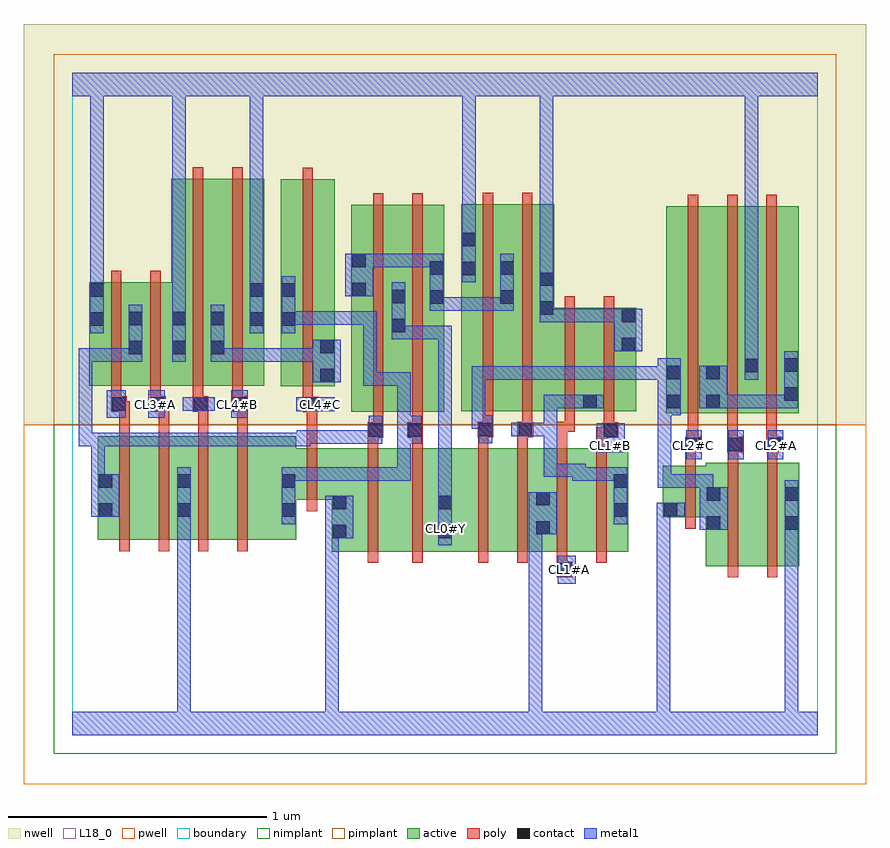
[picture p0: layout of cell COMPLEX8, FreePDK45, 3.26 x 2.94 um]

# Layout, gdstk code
import gdstk
lib = gdstk.Library(unit=1e-6, precision=1e-09)
def R(c, l, rs):  # rectangles x0, y0, x1, y1
    for r in rs: c.add(gdstk.rectangle(r[:2], r[2:], *l))
def A(c, l, x, y, w, h, nx, ny, dx, dy):  # array of equal rectangles
    R(c, l, [(x+i*dx, y+j*dy, x+i*dx+w, y+j*dy+h) for i in range(nx) for j in range(ny)])
active = (1, 0)
pwell = (2, 0)
nwell = (3, 0)
nimplant = (4, 0)
pimplant = (5, 0)
poly = (9, 0)
contact = (10, 0)
metal1 = (11, 0)
L18_0 = (18, 0)
boundary = (235, 0)

complex8 = lib.new_cell('COMPLEX8')
R(complex8, active, [(2.448,0.654,2.628,1.054), (2.628,0.654,2.808,1.054), (1.002,0.71,1.258,1.11), (1.002,0.71,1.062,1.028), (1.258,0.71,1.47,1.11), (1.41,0.71,1.664,1.11), (1.41,0.71,1.47,0.93), (1.664,0.71,1.848,1.11), (1.788,0.71,1.968,1.11), (1.788,0.71,1.848,0.944), (1.968,0.71,2.148,1.11), (0.098,0.756,0.278,1.156), (0.098,0.756,0.158,1.156), (0.278,0.756,0.462,1.156), (0.402,0.756,0.582,1.156), (0.402,0.756,0.462,1.012), (0.582,0.756,0.866,1.156), (0.806,0.756,0.866,1.11), (2.088,0.756,2.148,1.11), (2.748,0.756,2.808,1.054), (2.448,0.79,2.508,1.028), (2.282,0.842,2.508,1.042), (2.282,0.842,2.342,1.042), (0.806,0.91,1.062,1.11), (2.294,1.244,2.354,2.044), (2.294,1.244,2.506,2.044), (2.446,1.244,2.506,2.044), (2.446,1.244,2.654,2.044), (2.594,1.244,2.806,2.044), (2.746,1.244,2.806,2.044), (1.078,1.25,1.29,2.05), (1.23,1.25,1.438,2.05), (1.378,1.25,1.438,2.044), (1.502,1.252,1.71,2.052), (1.502,1.252,1.562,2.044), (1.65,1.252,1.862,2.052), (1.802,1.252,2.03,1.652), (1.97,1.252,2.178,1.652), (2.118,1.252,2.178,1.652), (1.97,1.26,2.03,1.644), (2.594,1.31,2.654,2.044), (1.23,1.316,1.29,2.044), (0.806,1.348,1.014,2.148), (0.806,1.348,0.866,2.044), (0.954,1.348,1.014,2.044), (0.066,1.35,0.126,1.75), (0.066,1.35,0.274,1.75), (0.214,1.35,0.442,1.75), (0.382,1.35,0.442,2.15), (0.382,1.35,0.592,2.15), (0.532,1.35,0.592,2.044), (0.532,1.35,0.742,2.15), (0.682,1.35,0.742,2.044), (1.65,1.354,1.71,2.044), (1.078,1.452,1.138,2.044), (1.802,1.464,1.862,2.052), (0.214,1.468,0.274,1.644)])
R(complex8, pwell, [(-0.188,-0.188,3.068,1.2)])
R(complex8, nwell, [(-0.188,1.2,3.068,2.748)])
R(complex8, nimplant, [(-0.072,-0.072,2.952,1.2)])
R(complex8, pimplant, [(-0.072,1.2,2.952,2.632)])
A(complex8, poly, 1.568, 0.666, 0.04, 0.488, 4, 1, 0.152, 0)
A(complex8, poly, 0.182, 0.712, 0.04, 0.488, 4, 1, 0.152, 0)
A(complex8, poly, 2.378, 1.114, 0.04, 0.126, 3, 1, 0.152, 0)
A(complex8, poly, 0.182, 1.16, 0.04, 0.13, 4, 1, 0.152, 0)
A(complex8, poly, 2.378, 1.2, 0.04, 0.888, 3, 1, 0.152, 0)
R(complex8, poly, [(1.872,0.61,1.932,0.67), (2.532,0.61,2.572,1.098), (2.684,0.61,2.724,1.098), (1.872,0.63,1.912,0.706), (1.142,0.666,1.182,1.154), (1.314,0.666,1.354,1.154), (2.368,0.798,2.408,1.086), (0.906,0.866,0.946,1.154), (2.368,1.046,2.408,1.134), (2.532,1.058,2.572,1.134), (2.684,1.058,2.724,1.134), (2.368,1.094,2.408,1.134), (2.368,1.094,2.408,1.134), (2.368,1.094,2.428,1.154), (2.53,1.094,2.59,1.154), (2.682,1.094,2.742,1.154), (2.684,1.094,2.724,1.134), (2.684,1.094,2.724,1.134), (0.906,1.114,0.946,1.288), (1.142,1.114,1.182,1.19), (1.314,1.114,1.354,1.19), (1.568,1.114,1.608,1.192), (1.72,1.114,1.76,1.192), (1.872,1.114,1.912,1.212), (2.024,1.114,2.064,1.19), (2.53,1.114,2.57,1.154), (2.53,1.114,2.57,1.154), (1.142,1.15,1.202,1.21), (1.294,1.15,1.354,1.21), (2.024,1.15,2.09,1.19), (2.05,1.15,2.09,1.19), (2.05,1.15,2.11,1.21), (1.566,1.152,1.626,1.212), (1.568,1.152,1.608,1.192), (1.568,1.152,1.608,1.192), (1.72,1.152,1.76,1.192), (1.72,1.152,1.76,1.192), (1.72,1.152,1.78,1.212), (1.162,1.17,1.202,1.21), (1.162,1.17,1.202,1.21), (1.162,1.17,1.202,1.246), (1.314,1.17,1.354,1.21), (1.314,1.17,1.354,1.21), (1.314,1.17,1.354,1.246), (2.054,1.17,2.094,1.248), (1.586,1.172,1.626,1.248), (1.738,1.172,1.778,1.248), (1.872,1.172,1.942,1.212), (1.902,1.172,1.942,1.212), (1.902,1.172,1.942,1.212), (1.902,1.172,1.942,1.248), (1.162,1.206,1.202,2.094), (1.314,1.206,1.354,2.094), (1.586,1.208,1.626,2.096), (1.738,1.208,1.778,2.096), (1.902,1.208,1.942,1.696), (2.054,1.208,2.094,1.696), (0.89,1.248,0.95,1.308), (0.906,1.248,0.946,1.288), (0.906,1.248,0.946,1.288), (0.15,1.25,0.21,1.31), (0.17,1.25,0.21,1.29), (0.17,1.25,0.222,1.29), (0.302,1.25,0.362,1.31), (0.322,1.25,0.362,1.29), (0.322,1.25,0.374,1.29), (0.466,1.25,0.526,1.31), (0.486,1.25,0.526,1.29), (0.486,1.25,0.526,1.29), (0.618,1.25,0.678,1.31), (0.638,1.25,0.678,1.29), (0.638,1.25,0.678,1.29), (0.89,1.268,0.93,1.344), (0.15,1.27,0.19,1.346), (0.302,1.27,0.342,1.346), (0.466,1.27,0.506,1.346), (0.618,1.27,0.658,1.346), (0.89,1.304,0.93,2.192), (0.15,1.306,0.19,1.794), (0.302,1.306,0.342,1.794), (0.466,1.306,0.506,2.194), (0.618,1.306,0.658,2.194)])
R(complex8, contact, [(1.876,0.614,1.928,0.666), (1.006,0.762,1.058,0.814), (1.414,0.762,1.466,0.814), (1.792,0.776,1.844,0.828), (2.452,0.794,2.504,0.846), (2.752,0.794,2.804,0.846), (0.102,0.844,0.154,0.896), (0.406,0.844,0.458,0.896), (0.81,0.844,0.862,0.896), (2.092,0.844,2.144,0.896), (2.286,0.846,2.338,0.898), (1.006,0.874,1.058,0.926), (1.414,0.874,1.466,0.926), (1.792,0.888,1.844,0.94), (2.452,0.906,2.504,0.958), (2.752,0.906,2.804,0.958), (0.102,0.956,0.154,1.008), (0.406,0.956,0.458,1.008), (0.81,0.956,0.862,1.008), (2.092,0.956,2.144,1.008), (2.372,1.098,2.424,1.15), (2.534,1.098,2.586,1.15), (2.686,1.098,2.738,1.15), (1.146,1.154,1.198,1.206), (1.298,1.154,1.35,1.206), (2.054,1.154,2.106,1.206), (1.57,1.156,1.622,1.208), (1.724,1.156,1.776,1.208), (0.894,1.252,0.946,1.304), (0.154,1.254,0.206,1.306), (0.306,1.254,0.358,1.306), (0.47,1.254,0.522,1.306), (0.622,1.254,0.674,1.306), (1.974,1.264,2.026,1.316), (2.298,1.264,2.35,1.316), (2.45,1.264,2.502,1.316), (2.75,1.292,2.802,1.344), (0.958,1.364,1.01,1.416), (2.298,1.376,2.35,1.428), (2.45,1.376,2.502,1.428), (2.598,1.402,2.65,1.454), (2.75,1.404,2.802,1.456), (0.218,1.472,0.27,1.524), (0.386,1.472,0.438,1.524), (0.536,1.472,0.588,1.524), (0.958,1.476,1.01,1.528), (2.122,1.484,2.174,1.536), (1.234,1.558,1.286,1.61), (0.07,1.582,0.122,1.634), (0.686,1.582,0.738,1.634), (0.81,1.582,0.862,1.634), (0.218,1.584,0.27,1.636), (0.386,1.584,0.438,1.636), (0.536,1.584,0.588,1.636), (2.122,1.596,2.174,1.648), (1.806,1.624,1.858,1.676), (1.382,1.668,1.434,1.72), (1.654,1.668,1.706,1.72), (1.234,1.67,1.286,1.722), (0.07,1.694,0.122,1.746), (0.686,1.694,0.738,1.746), (0.81,1.694,0.862,1.746), (1.082,1.696,1.134,1.748), (1.806,1.736,1.858,1.788), (1.506,1.778,1.558,1.83), (1.382,1.78,1.434,1.832), (1.654,1.78,1.706,1.832), (1.082,1.808,1.134,1.86), (1.506,1.89,1.558,1.942)])
R(complex8, metal1, [(0,0,2.88,0.092), (0.406,0.04,0.458,0.092), (0.406,0.04,0.458,0.092), (0.406,0.04,0.458,0.092), (0.406,0.04,0.458,0.092), (0.406,0.04,0.458,0.868), (0.978,0.04,1.03,0.092), (0.978,0.04,1.03,0.092), (0.978,0.04,1.03,0.814), (1.764,0.04,1.816,0.092), (1.764,0.04,1.816,0.092), (1.764,0.04,1.816,0.092), (1.764,0.04,1.816,0.092), (1.764,0.04,1.816,0.218), (2.258,0.04,2.31,0.092), (2.258,0.04,2.31,0.092), (2.258,0.04,2.31,0.092), (2.258,0.04,2.31,0.092), (2.258,0.04,2.31,0.092), (2.258,0.04,2.31,0.092), (2.258,0.04,2.31,0.092), (2.258,0.04,2.31,0.092), (2.258,0.04,2.31,0.822), (2.752,0.04,2.804,0.092), (2.752,0.04,2.804,0.092), (2.752,0.04,2.804,0.092), (2.752,0.04,2.804,0.092), (2.752,0.04,2.804,0.092), (2.752,0.04,2.804,0.092), (2.752,0.04,2.804,0.092), (2.752,0.04,2.804,0.092), (2.752,0.04,2.804,0.818), (1.764,0.166,1.816,0.218), (1.764,0.166,1.816,0.218), (1.764,0.166,1.816,0.218), (1.764,0.166,1.816,0.828), (1.876,0.586,1.946,0.694), (1.414,0.734,1.466,0.954), (0.978,0.762,1.03,0.814), (0.978,0.762,1.03,0.814), (0.978,0.762,1.03,0.814), (0.978,0.762,1.03,0.814), (0.978,0.762,1.03,0.814), (0.978,0.762,1.03,0.814), (0.978,0.762,1.03,0.814), (0.978,0.762,1.03,0.814), (0.978,0.762,1.03,0.814), (0.978,0.762,1.03,0.814), (0.978,0.762,1.086,0.926), (2.752,0.766,2.804,0.986), (2.752,0.766,2.804,0.818), (2.752,0.766,2.804,0.818), (2.752,0.766,2.804,0.818), (2.752,0.766,2.804,0.818), (2.258,0.77,2.31,0.822), (2.258,0.77,2.31,0.898), (1.764,0.776,1.816,0.828), (1.764,0.776,1.816,0.828), (1.764,0.776,1.816,0.828), (1.764,0.776,1.816,0.828), (1.764,0.776,1.872,0.94), (2.424,0.794,2.532,0.958), (0.406,0.816,0.458,1.036), (0.406,0.816,0.458,0.868), (0.406,0.816,0.458,0.868), (0.406,0.816,0.458,0.868), (0.406,0.816,0.458,0.868), (0.406,0.816,0.458,0.868), (0.406,0.816,0.458,0.868), (0.406,0.816,0.458,0.868), (0.406,0.816,0.458,0.868), (0.81,0.816,0.862,1.036), (2.092,0.816,2.144,1.036), (0.074,0.844,0.182,1.008), (2.258,0.846,2.31,0.898), (2.258,0.846,2.31,0.898), (2.258,0.846,2.31,0.898), (2.258,0.846,2.31,0.898), (2.258,0.846,2.31,0.898), (2.258,0.846,2.31,0.898), (2.258,0.846,2.366,0.898), (1.414,0.902,1.466,0.954), (1.414,0.902,1.466,0.954), (1.414,0.902,1.466,0.954), (1.414,0.902,1.466,0.954), (1.414,0.902,1.466,0.954), (1.414,0.902,1.466,0.954), (1.414,0.902,1.466,1.582), (2.424,0.906,2.476,1.008), (0.074,0.956,0.126,1.168), (2.262,0.956,2.424,1.008), (2.262,0.956,2.314,1.008), (2.262,0.956,2.314,1.008), (2.262,0.956,2.314,1.008), (2.262,0.956,2.314,1.288), (2.372,0.956,2.424,1.008), (2.372,0.956,2.476,1.008), (2.424,0.956,2.476,1.008), (0.81,0.984,0.972,1.036), (0.81,0.984,0.862,1.036), (0.81,0.984,0.862,1.036), (0.92,0.984,0.972,1.036), (0.92,0.984,1.15,1.036), (1.098,0.984,1.15,1.036), (1.098,0.984,1.15,1.036), (1.098,0.984,1.15,1.036), (1.098,0.984,1.308,1.036), (1.256,0.984,1.308,1.036), (1.256,0.984,1.308,1.234), (1.932,0.984,2.144,1.036), (1.932,0.984,1.984,1.05), (2.092,0.984,2.144,1.036), (2.092,0.984,2.144,1.036), (1.822,0.998,1.874,1.05), (1.822,0.998,1.914,1.05), (1.822,0.998,1.874,1.208), (1.862,0.998,1.914,1.05), (1.862,0.998,1.984,1.05), (2.372,1.066,2.432,1.178), (2.534,1.066,2.594,1.178), (2.686,1.066,2.746,1.178), (2.026,1.094,2.134,1.206), (0.026,1.116,0.078,1.496), (0.026,1.116,0.126,1.168), (0.074,1.116,0.126,1.168), (0.074,1.116,0.126,1.168), (0.074,1.116,0.238,1.168), (0.186,1.116,0.348,1.168), (0.186,1.116,0.238,1.168), (0.186,1.116,0.238,1.168), (0.186,1.116,0.238,1.168), (0.296,1.116,0.348,1.168), (0.296,1.116,0.348,1.168), (0.296,1.116,0.348,1.168), (0.296,1.116,0.628,1.168), (0.576,1.116,0.738,1.168), (0.576,1.116,0.628,1.168), (0.576,1.116,0.628,1.168), (0.576,1.116,0.628,1.168), (0.686,1.116,0.738,1.168), (0.686,1.116,0.738,1.168), (0.686,1.116,0.738,1.168), (0.686,1.116,0.92,1.168), (0.868,1.116,0.92,1.178), (0.868,1.126,1.04,1.178), (0.988,1.126,1.04,1.178), (0.988,1.126,1.04,1.178), (0.988,1.126,1.04,1.178), (0.988,1.126,1.198,1.178), (1.146,1.126,1.198,1.234), (1.298,1.126,1.35,1.234), (1.57,1.128,1.622,1.236), (1.696,1.156,1.804,1.208), (1.752,1.156,1.874,1.208), (1.822,1.156,1.874,1.208), (1.822,1.156,1.874,1.208), (1.822,1.156,1.874,1.208), (1.822,1.156,1.874,1.316), (1.256,1.182,1.308,1.402), (1.256,1.182,1.308,1.234), (1.256,1.182,1.35,1.234), (1.544,1.184,1.596,1.236), (1.544,1.184,1.622,1.236), (1.544,1.184,1.596,1.426), (0.134,1.226,0.206,1.334), (0.294,1.226,0.358,1.334), (0.614,1.226,0.678,1.334), (2.262,1.236,2.314,1.288), (2.262,1.236,2.314,1.288), (2.262,1.236,2.35,1.456), (0.866,1.252,1.014,1.306), (0.426,1.254,0.55,1.306), (1.822,1.264,1.874,1.316), (1.822,1.264,1.924,1.316), (1.872,1.264,1.924,1.316), (1.872,1.264,1.998,1.316), (1.946,1.264,2.054,1.316), (2.422,1.264,2.53,1.428), (2.478,1.264,2.534,1.316), (2.482,1.264,2.534,1.316), (2.482,1.264,2.692,1.316), (2.64,1.264,2.802,1.316), (2.64,1.264,2.692,1.316), (2.64,1.264,2.692,1.316), (2.64,1.264,2.692,1.316), (2.75,1.264,2.802,1.484), (1.124,1.35,1.176,1.402), (1.124,1.35,1.176,1.402), (1.124,1.35,1.176,1.402), (1.124,1.35,1.176,1.402), (1.124,1.35,1.176,1.402), (1.124,1.35,1.308,1.402), (1.124,1.35,1.176,1.638), (1.256,1.35,1.308,1.402), (0.93,1.364,1.038,1.528), (1.544,1.374,1.706,1.426), (1.544,1.374,1.596,1.426), (1.544,1.374,1.596,1.426), (1.544,1.374,1.596,1.426), (1.654,1.374,1.816,1.426), (1.654,1.374,1.706,1.426), (1.654,1.374,1.706,1.426), (1.654,1.374,1.706,1.426), (1.654,1.374,1.706,1.426), (1.654,1.374,1.706,1.426), (1.764,1.374,1.816,1.426), (1.764,1.374,1.914,1.426), (1.862,1.374,1.914,1.426), (1.862,1.374,2.034,1.426), (1.982,1.374,2.034,1.426), (1.982,1.374,2.034,1.426), (1.982,1.374,2.034,1.426), (1.982,1.374,2.314,1.426), (2.262,1.374,2.314,1.426), (2.262,1.374,2.314,1.426), (2.598,1.374,2.65,1.482), (2.598,1.43,2.65,1.482), (2.598,1.43,2.65,1.482), (2.598,1.43,2.65,1.482), (2.598,1.43,2.65,1.482), (2.598,1.43,2.65,1.482), (2.598,1.43,2.65,1.482), (2.598,1.43,2.65,2.52), (0.026,1.444,0.078,1.496), (0.026,1.444,0.078,1.496), (0.026,1.444,0.078,1.496), (0.026,1.444,0.078,1.496), (0.026,1.444,0.078,1.496), (0.026,1.444,0.27,1.496), (0.218,1.444,0.27,1.664), (0.386,1.444,0.438,1.664), (0.536,1.444,0.588,1.664), (0.536,1.444,0.588,1.496), (0.536,1.444,0.588,1.496), (0.536,1.444,0.738,1.496), (0.686,1.444,0.738,1.496), (0.686,1.444,0.738,1.496), (0.686,1.444,0.738,1.496), (0.686,1.444,0.92,1.496), (0.868,1.444,0.92,1.496), (0.868,1.444,0.982,1.496), (2.094,1.484,2.202,1.648), (1.234,1.53,1.286,1.75), (1.234,1.53,1.448,1.582), (1.396,1.53,1.448,1.582), (1.396,1.53,1.466,1.582), (1.414,1.53,1.466,1.582), (0.07,1.554,0.122,1.774), (0.686,1.554,0.738,1.774), (0.81,1.554,0.862,1.774), (0.81,1.586,0.92,1.638), (0.868,1.586,0.92,1.638), (0.868,1.586,0.972,1.638), (0.92,1.586,0.972,1.638), (0.92,1.586,1.176,1.638), (1.124,1.586,1.176,1.638), (1.806,1.596,1.858,1.816), (1.806,1.596,1.924,1.648), (1.872,1.596,1.924,1.648), (1.872,1.596,1.998,1.648), (1.946,1.596,1.998,1.648), (1.946,1.596,1.998,1.648), (1.946,1.596,1.998,1.648), (1.946,1.596,1.998,1.648), (1.946,1.596,1.998,1.648), (1.946,1.596,2.146,1.648), (2.094,1.596,2.146,1.648), (2.094,1.596,2.146,1.648), (2.094,1.596,2.146,1.648), (2.094,1.596,2.146,1.648), (2.094,1.596,2.146,1.648), (2.094,1.596,2.146,1.648), (0.386,1.612,0.438,1.664), (0.386,1.612,0.438,1.664), (0.386,1.612,0.438,2.52), (1.382,1.64,1.434,1.86), (1.382,1.64,1.576,1.692), (1.524,1.64,1.576,1.692), (1.524,1.64,1.576,1.692), (1.524,1.64,1.576,1.692), (1.524,1.64,1.706,1.692), (1.654,1.64,1.706,1.86), (1.054,1.696,1.162,1.86), (0.07,1.722,0.122,1.774), (0.07,1.722,0.122,1.774), (0.07,1.722,0.122,1.774), (0.07,1.722,0.122,1.774), (0.07,1.722,0.122,1.774), (0.07,1.722,0.122,1.774), (0.07,1.722,0.122,2.52), (0.686,1.722,0.738,2.52), (1.506,1.75,1.558,1.97), (1.806,1.764,1.858,1.816), (1.806,1.764,1.858,1.816), (1.806,1.764,1.858,1.816), (1.806,1.764,1.858,1.816), (1.806,1.764,1.858,2.52), (1.11,1.808,1.162,1.86), (1.11,1.808,1.162,1.86), (1.11,1.808,1.308,1.86), (1.256,1.808,1.308,1.86), (1.256,1.808,1.308,1.86), (1.256,1.808,1.308,1.86), (1.256,1.808,1.434,1.86), (1.506,1.918,1.558,2.52), (0,2.468,2.88,2.56), (0.07,2.468,0.122,2.52), (0.07,2.468,0.122,2.52), (0.07,2.468,0.122,2.52), (0.07,2.468,0.122,2.52), (0.07,2.468,0.122,2.52), (0.07,2.468,0.122,2.52), (0.07,2.468,0.122,2.52), (0.07,2.468,0.122,2.52), (0.07,2.468,0.122,2.52), (0.07,2.468,0.122,2.52), (0.386,2.468,0.438,2.52), (0.386,2.468,0.438,2.52), (0.386,2.468,0.438,2.52), (0.386,2.468,0.438,2.52), (0.386,2.468,0.438,2.52), (0.386,2.468,0.438,2.52), (0.686,2.468,0.738,2.52), (0.686,2.468,0.738,2.52), (0.686,2.468,0.738,2.52), (0.686,2.468,0.738,2.52), (0.686,2.468,0.738,2.52), (0.686,2.468,0.738,2.52), (0.686,2.468,0.738,2.52), (0.686,2.468,0.738,2.52), (1.506,2.468,1.558,2.52), (1.506,2.468,1.558,2.52), (1.506,2.468,1.558,2.52), (1.506,2.468,1.558,2.52), (1.506,2.468,1.558,2.52), (1.506,2.468,1.558,2.52), (1.506,2.468,1.558,2.52), (1.506,2.468,1.558,2.52), (1.806,2.468,1.858,2.52), (1.806,2.468,1.858,2.52), (1.806,2.468,1.858,2.52), (1.806,2.468,1.858,2.52), (2.598,2.468,2.65,2.52), (2.598,2.468,2.65,2.52)])
A(complex8, L18_0, 2.374, 1.094, 0.052, 0.052, 3, 1, 0.16, 0)
A(complex8, L18_0, 0.134, 1.254, 0.052, 0.052, 4, 1, 0.16, 0)
R(complex8, L18_0, [(0,0,2.88,0.092), (0.406,0.04,0.458,0.092), (0.406,0.04,0.458,0.092), (0.406,0.04,0.458,0.092), (0.406,0.04,0.458,0.092), (0.406,0.04,0.458,0.868), (0.978,0.04,1.03,0.092), (0.978,0.04,1.03,0.092), (0.978,0.04,1.03,0.814), (1.764,0.04,1.816,0.092), (1.764,0.04,1.816,0.092), (1.764,0.04,1.816,0.092), (1.764,0.04,1.816,0.092), (1.764,0.04,1.816,0.218), (2.258,0.04,2.31,0.092), (2.258,0.04,2.31,0.092), (2.258,0.04,2.31,0.092), (2.258,0.04,2.31,0.092), (2.258,0.04,2.31,0.092), (2.258,0.04,2.31,0.092), (2.258,0.04,2.31,0.092), (2.258,0.04,2.31,0.092), (2.258,0.04,2.31,0.822), (2.752,0.04,2.804,0.092), (2.752,0.04,2.804,0.092), (2.752,0.04,2.804,0.092), (2.752,0.04,2.804,0.092), (2.752,0.04,2.804,0.092), (2.752,0.04,2.804,0.092), (2.752,0.04,2.804,0.092), (2.752,0.04,2.804,0.092), (2.752,0.04,2.804,0.818), (1.764,0.166,1.816,0.218), (1.764,0.166,1.816,0.218), (1.764,0.166,1.816,0.218), (1.764,0.166,1.816,0.828), (1.876,0.586,1.946,0.694), (1.894,0.614,1.946,0.666), (1.414,0.734,1.466,0.954), (0.978,0.762,1.03,0.814), (0.978,0.762,1.03,0.814), (0.978,0.762,1.03,0.814), (0.978,0.762,1.03,0.814), (0.978,0.762,1.03,0.814), (0.978,0.762,1.03,0.814), (0.978,0.762,1.03,0.814), (0.978,0.762,1.03,0.814), (0.978,0.762,1.03,0.814), (0.978,0.762,1.03,0.814), (0.978,0.762,1.086,0.926), (2.752,0.766,2.804,0.986), (2.752,0.766,2.804,0.818), (2.752,0.766,2.804,0.818), (2.752,0.766,2.804,0.818), (2.752,0.766,2.804,0.818), (2.258,0.77,2.31,0.822), (2.258,0.77,2.31,0.898), (1.414,0.774,1.466,0.826), (1.764,0.776,1.816,0.828), (1.764,0.776,1.816,0.828), (1.764,0.776,1.816,0.828), (1.764,0.776,1.816,0.828), (1.764,0.776,1.872,0.94), (0.406,0.816,0.458,1.036), (0.406,0.816,0.458,0.868), (0.406,0.816,0.458,0.868), (0.406,0.816,0.458,0.868), (0.406,0.816,0.458,0.868), (0.406,0.816,0.458,0.868), (0.406,0.816,0.458,0.868), (0.406,0.816,0.458,0.868), (0.406,0.816,0.458,0.868), (2.258,0.846,2.31,0.898), (2.258,0.846,2.31,0.898), (2.258,0.846,2.31,0.898), (2.258,0.846,2.31,0.898), (2.258,0.846,2.31,0.898), (2.258,0.846,2.31,0.898), (2.258,0.846,2.366,0.898), (1.414,0.902,1.466,0.954), (1.414,0.902,1.466,0.954), (1.414,0.902,1.466,0.954), (1.414,0.902,1.466,0.954), (1.414,0.902,1.466,0.954), (1.414,0.902,1.466,0.954), (1.414,0.902,1.466,1.582), (2.372,1.066,2.432,1.178), (2.534,1.066,2.594,1.178), (2.686,1.066,2.746,1.178), (2.026,1.094,2.134,1.206), (2.054,1.094,2.106,1.146), (0.134,1.226,0.206,1.334), (0.294,1.226,0.358,1.334), (0.614,1.226,0.678,1.334), (0.866,1.252,1.014,1.306), (0.426,1.254,0.55,1.306), (0.934,1.254,0.986,1.306), (2.598,1.374,2.65,1.482), (2.598,1.43,2.65,1.482), (2.598,1.43,2.65,1.482), (2.598,1.43,2.65,1.482), (2.598,1.43,2.65,1.482), (2.598,1.43,2.65,1.482), (2.598,1.43,2.65,1.482), (2.598,1.43,2.65,2.52), (0.386,1.444,0.438,1.664), (2.094,1.484,2.202,1.648), (1.234,1.53,1.286,1.75), (1.234,1.53,1.448,1.582), (1.396,1.53,1.448,1.582), (1.396,1.53,1.466,1.582), (1.414,1.53,1.466,1.582), (0.07,1.554,0.122,1.774), (0.686,1.554,0.738,1.774), (1.806,1.596,1.858,1.816), (1.806,1.596,1.924,1.648), (1.872,1.596,1.924,1.648), (1.872,1.596,1.998,1.648), (1.946,1.596,1.998,1.648), (1.946,1.596,1.998,1.648), (1.946,1.596,1.998,1.648), (1.946,1.596,1.998,1.648), (1.946,1.596,1.998,1.648), (1.946,1.596,2.146,1.648), (2.094,1.596,2.146,1.648), (2.094,1.596,2.146,1.648), (2.094,1.596,2.146,1.648), (2.094,1.596,2.146,1.648), (2.094,1.596,2.146,1.648), (2.094,1.596,2.146,1.648), (0.386,1.612,0.438,1.664), (0.386,1.612,0.438,1.664), (0.386,1.612,0.438,2.52), (0.07,1.722,0.122,1.774), (0.07,1.722,0.122,1.774), (0.07,1.722,0.122,1.774), (0.07,1.722,0.122,1.774), (0.07,1.722,0.122,1.774), (0.07,1.722,0.122,1.774), (0.07,1.722,0.122,2.52), (0.686,1.722,0.738,2.52), (1.506,1.75,1.558,1.97), (1.806,1.764,1.858,1.816), (1.806,1.764,1.858,1.816), (1.806,1.764,1.858,1.816), (1.806,1.764,1.858,1.816), (1.806,1.764,1.858,2.52), (1.506,1.918,1.558,2.52), (0,2.468,2.88,2.56), (0.07,2.468,0.122,2.52), (0.07,2.468,0.122,2.52), (0.07,2.468,0.122,2.52), (0.07,2.468,0.122,2.52), (0.07,2.468,0.122,2.52), (0.07,2.468,0.122,2.52), (0.07,2.468,0.122,2.52), (0.07,2.468,0.122,2.52), (0.07,2.468,0.122,2.52), (0.07,2.468,0.122,2.52), (0.386,2.468,0.438,2.52), (0.386,2.468,0.438,2.52), (0.386,2.468,0.438,2.52), (0.386,2.468,0.438,2.52), (0.386,2.468,0.438,2.52), (0.386,2.468,0.438,2.52), (0.686,2.468,0.738,2.52), (0.686,2.468,0.738,2.52), (0.686,2.468,0.738,2.52), (0.686,2.468,0.738,2.52), (0.686,2.468,0.738,2.52), (0.686,2.468,0.738,2.52), (0.686,2.468,0.738,2.52), (0.686,2.468,0.738,2.52), (1.506,2.468,1.558,2.52), (1.506,2.468,1.558,2.52), (1.506,2.468,1.558,2.52), (1.506,2.468,1.558,2.52), (1.506,2.468,1.558,2.52), (1.506,2.468,1.558,2.52), (1.506,2.468,1.558,2.52), (1.506,2.468,1.558,2.52), (1.806,2.468,1.858,2.52), (1.806,2.468,1.858,2.52), (1.806,2.468,1.858,2.52), (1.806,2.468,1.858,2.52), (2.598,2.468,2.65,2.52), (2.598,2.468,2.65,2.52)])
R(complex8, boundary, [(0,0,2.88,2.56)])
complex8.add(gdstk.Label('CL0#Y', (1.44,0.8), layer=11, texttype=0))
complex8.add(gdstk.Label('CL1#A', (1.92,0.64), layer=11, texttype=0))
complex8.add(gdstk.Label('CL1#B', (2.08,1.12), layer=11, texttype=0))
complex8.add(gdstk.Label('CL2#A', (2.72,1.12), layer=11, texttype=0))
complex8.add(gdstk.Label('CL2#B', (2.56,1.12), layer=11, texttype=0))
complex8.add(gdstk.Label('CL2#C', (2.4,1.12), layer=11, texttype=0))
complex8.add(gdstk.Label('CL3#A', (0.32,1.28), layer=11, texttype=0))
complex8.add(gdstk.Label('CL3#B', (0.16,1.28), layer=11, texttype=0))
complex8.add(gdstk.Label('CL4#A', (0.48,1.28), layer=11, texttype=0))
complex8.add(gdstk.Label('CL4#B', (0.64,1.28), layer=11, texttype=0))
complex8.add(gdstk.Label('CL4#C', (0.96,1.28), layer=11, texttype=0))

lib.write_gds('COMPLEX8.gds')
